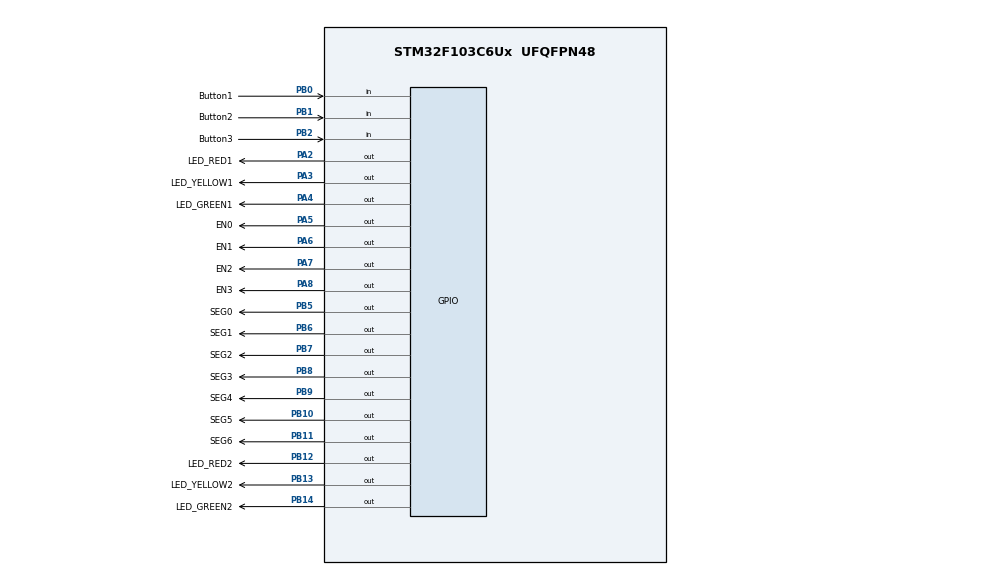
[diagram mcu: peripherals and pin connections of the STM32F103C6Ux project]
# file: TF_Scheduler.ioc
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Mcu.Family=STM32F1
Mcu.Name=STM32F103C6Ux
Mcu.Package=UFQFPN48
NVIC.PriorityGroup=NVIC_PRIORITYGROUP_4
NVIC.TIM2_IRQn=true\:0\:0\:false\:false\:true\:true\:true
PA0-WKUP.Mode=SYS_WakeUp0
PA0-WKUP.Signal=SYS_WKUP
PA13.Mode=Serial_Wire
PA13.Signal=SYS_JTMS-SWDIO
PA14.Mode=Serial_Wire
PA14.Signal=SYS_JTCK-SWCLK
PA2.GPIO_Label=LED_RED1
PA2.Signal=GPIO_Output
PA3.GPIO_Label=LED_YELLOW1
PA3.Signal=GPIO_Output
PA4.GPIO_Label=LED_GREEN1
PA4.Signal=GPIO_Output
PA5.GPIO_Label=EN0
PA5.GPIO_PuPd=GPIO_NOPULL
PA5.Signal=GPIO_Output
PA6.GPIO_Label=EN1
PA6.Signal=GPIO_Output
PA7.GPIO_Label=EN2
PA7.Signal=GPIO_Output
PA8.GPIO_Label=EN3
PA8.Signal=GPIO_Output
PB0.GPIO_Label=Button1
PB0.GPIO_PuPd=GPIO_PULLUP
PB0.Signal=GPIO_Input
PB1.GPIO_Label=Button2
PB1.GPIO_PuPd=GPIO_PULLUP
PB1.Signal=GPIO_Input
PB10.GPIO_Label=SEG5
PB10.Signal=GPIO_Output
PB11.GPIO_Label=SEG6
PB11.Signal=GPIO_Output
PB12.GPIO_Label=LED_RED2
PB12.Signal=GPIO_Output
PB13.GPIO_Label=LED_YELLOW2
PB13.Signal=GPIO_Output
PB14.GPIO_Label=LED_GREEN2
PB14.Signal=GPIO_Output
PB2.GPIO_Label=Button3
PB2.GPIO_PuPd=GPIO_PULLUP
PB2.Signal=GPIO_Input
PB5.GPIO_Label=SEG0
PB5.Signal=GPIO_Output
PB6.GPIO_Label=SEG1
PB6.Signal=GPIO_Output
PB7.GPIO_Label=SEG2
PB7.Signal=GPIO_Output
PB8.GPIO_Label=SEG3
PB8.Signal=GPIO_Output
PB9.GPIO_Label=SEG4
PB9.Signal=GPIO_Output
PC14-OSC32_IN.Mode=LSE-External-Oscillator
PC14-OSC32_IN.Signal=RCC_OSC32_IN
PC15-OSC32_OUT.Mode=LSE-External-Oscillator
PC15-OSC32_OUT.Signal=RCC_OSC32_OUT
PD0-OSC_IN.Mode=HSE-External-Oscillator
PD0-OSC_IN.Signal=RCC_OSC_IN
PD1-OSC_OUT.Mode=HSE-External-Oscillator
PD1-OSC_OUT.Signal=RCC_OSC_OUT
ProjectManager.HeapSize=0x200
ProjectManager.StackSize=0x400
ProjectManager.TargetToolchain=STM32CubeIDE
RCC.APB1Freq_Value=8000000
RCC.APB2Freq_Value=8000000
TIM2.Period=9
TIM2.Prescaler=7999
VP_TIM2_VS_ClockSourceINT.Mode=Internal
board=custom

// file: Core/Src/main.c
/* USER CODE BEGIN Header */
/**
  ******************************************************************************
  * @file           : main.c
  * @brief          : Main program body
  ******************************************************************************
  * @attention
  *
  * <h2><center>&copy; Copyright (c) 2025 STMicroelectronics.
  * All rights reserved.</center></h2>
  *
  * This software component is licensed by ST under BSD 3-Clause license,
  * the "License"; You may not use this file except in compliance with the
  * License. You may obtain a copy of the License at:
  *                        opensource.org/licenses/BSD-3-Clause
  *
  ******************************************************************************
  */
/* USER CODE END Header */
#include "main.h"

/* USER CODE BEGIN Includes */
#include "scheduler.h"
#include "fsm_normal_state.h"
#include "fsm_fixedred_state.h"
#include "fsm_fixedyellow_state.h"
#include "fsm_fixedgreen_state.h"
#include "button.h"
#include "led_display.h"
#include "light_display.h"
/* USER CODE END Includes */

TIM_HandleTypeDef htim2;

void SystemClock_Config(void);
static void MX_GPIO_Init(void);
static void MX_TIM2_Init(void);

int main(void)
{

  /* MCU Configuration--------------------------------------------------------*/

  /* Reset of all peripherals, Initializes the Flash interface and the Systick. */
  HAL_Init();

  /* Configure the system clock */
  SystemClock_Config();

  /* Initialize all configured peripherals */
  MX_GPIO_Init();
  MX_TIM2_Init();
  /* USER CODE BEGIN 2 */
  HAL_TIM_Base_Start_IT(&htim2);
//  SCH_Init();

  //************************ RGB LEDs Init ********************************//
    RGB_TrafficLight_Init(&RGB_tl1, LED_RED1_Pin, LED_YELLOW1_Pin, LED_GREEN1_Pin,
    	LED_RED1_GPIO_Port, LED_YELLOW1_GPIO_Port, LED_GREEN1_GPIO_Port);
    RGB_TrafficLight_Init(&RGB_tl2, LED_RED2_Pin, LED_YELLOW2_Pin, LED_GREEN2_Pin,
    		LED_RED2_GPIO_Port, LED_YELLOW2_GPIO_Port, LED_GREEN2_GPIO_Port);

    //************************ Button Init ********************************//
    Button_Init(&btn[0], Button1_Pin, Button1_GPIO_Port);
    Button_Init(&btn[1], Button2_Pin, Button2_GPIO_Port);
    Button_Init(&btn[2], Button3_Pin, Button3_GPIO_Port);

    //************************ Add tasks ********************************//
    SCH_Add_Task(&fsm_processing_trafficlight, 0, 100);
    SCH_Add_Task(&fsm_processing_red_trafficlight, 0, 30);
    SCH_Add_Task(&fsm_processing_green_trafficlight, 0, 30);
    SCH_Add_Task(&fsm_processing_yellow_trafficlight, 0, 30);

    SCH_Add_Task(&fsm_normal_state, 0, 1);
	SCH_Add_Task(&fsm_fixedred_state, 0, 1);
	SCH_Add_Task(&fsm_fixedyellow_state, 0, 1);
	SCH_Add_Task(&fsm_fixedgreen_state, 0, 1);

	SCH_Add_Task(&Scan_Led, 0, 25);
	SCH_Add_Task(&button_reading, 0, 1);

  /* USER CODE END 2 */

  /* Infinite loop */
  /* USER CODE BEGIN WHILE */
  while (1)
  {
	  SCH_Dispatch_Tasks();
    /* USER CODE END WHILE */

  }
}

void SystemClock_Config(void)
{
  RCC_OscInitTypeDef RCC_OscInitStruct = {0};
  RCC_ClkInitTypeDef RCC_ClkInitStruct = {0};

  /** Initializes the RCC Oscillators according to the specified parameters
  * in the RCC_OscInitTypeDef structure.
  */
  RCC_OscInitStruct.OscillatorType = RCC_OSCILLATORTYPE_HSI;
  RCC_OscInitStruct.HSIState = RCC_HSI_ON;
  RCC_OscInitStruct.HSICalibrationValue = RCC_HSICALIBRATION_DEFAULT;
  RCC_OscInitStruct.PLL.PLLState = RCC_PLL_NONE;
  if (HAL_RCC_OscConfig(&RCC_OscInitStruct) != HAL_OK)
  {
    Error_Handler();
  }
  /** Initializes the CPU, AHB and APB buses clocks
  */
  RCC_ClkInitStruct.ClockType = RCC_CLOCKTYPE_HCLK|RCC_CLOCKTYPE_SYSCLK
                              |RCC_CLOCKTYPE_PCLK1|RCC_CLOCKTYPE_PCLK2;
  RCC_ClkInitStruct.SYSCLKSource = RCC_SYSCLKSOURCE_HSI;
  RCC_ClkInitStruct.AHBCLKDivider = RCC_SYSCLK_DIV1;
  RCC_ClkInitStruct.APB1CLKDivider = RCC_HCLK_DIV1;
  RCC_ClkInitStruct.APB2CLKDivider = RCC_HCLK_DIV1;

  if (HAL_RCC_ClockConfig(&RCC_ClkInitStruct, FLASH_LATENCY_0) != HAL_OK)
  {
    Error_Handler();
  }
}

static void MX_TIM2_Init(void)
{

  TIM_ClockConfigTypeDef sClockSourceConfig = {0};
  TIM_MasterConfigTypeDef sMasterConfig = {0};

  htim2.Instance = TIM2;
  htim2.Init.Prescaler = 7999;
  htim2.Init.CounterMode = TIM_COUNTERMODE_UP;
  htim2.Init.Period = 9;
  htim2.Init.ClockDivision = TIM_CLOCKDIVISION_DIV1;
  htim2.Init.AutoReloadPreload = TIM_AUTORELOAD_PRELOAD_DISABLE;
  if (HAL_TIM_Base_Init(&htim2) != HAL_OK)
  {
    Error_Handler();
  }
  sClockSourceConfig.ClockSource = TIM_CLOCKSOURCE_INTERNAL;
  if (HAL_TIM_ConfigClockSource(&htim2, &sClockSourceConfig) != HAL_OK)
  {
    Error_Handler();
  }
  sMasterConfig.MasterOutputTrigger = TIM_TRGO_RESET;
  sMasterConfig.MasterSlaveMode = TIM_MASTERSLAVEMODE_DISABLE;
  if (HAL_TIMEx_MasterConfigSynchronization(&htim2, &sMasterConfig) != HAL_OK)
  {
    Error_Handler();
  }

}

static void MX_GPIO_Init(void)
{
  GPIO_InitTypeDef GPIO_InitStruct = {0};

  /* GPIO Ports Clock Enable */
  __HAL_RCC_GPIOC_CLK_ENABLE();
  __HAL_RCC_GPIOD_CLK_ENABLE();
  __HAL_RCC_GPIOA_CLK_ENABLE();
  __HAL_RCC_GPIOB_CLK_ENABLE();

  /*Configure GPIO pin Output Level */
  HAL_GPIO_WritePin(GPIOA, LED_RED1_Pin|LED_YELLOW1_Pin|LED_GREEN1_Pin|EN0_Pin
                          |EN1_Pin|EN2_Pin|EN3_Pin, GPIO_PIN_RESET);

  /*Configure GPIO pin Output Level */
  HAL_GPIO_WritePin(GPIOB, SEG5_Pin|SEG6_Pin|LED_RED2_Pin|LED_YELLOW2_Pin
                          |LED_GREEN2_Pin|SEG0_Pin|SEG1_Pin|SEG2_Pin
                          |SEG3_Pin|SEG4_Pin, GPIO_PIN_RESET);

  /*Configure GPIO pins : LED_RED1_Pin LED_YELLOW1_Pin LED_GREEN1_Pin EN0_Pin
                           EN1_Pin EN2_Pin EN3_Pin */
  GPIO_InitStruct.Pin = LED_RED1_Pin|LED_YELLOW1_Pin|LED_GREEN1_Pin|EN0_Pin
                          |EN1_Pin|EN2_Pin|EN3_Pin;
  GPIO_InitStruct.Mode = GPIO_MODE_OUTPUT_PP;
  GPIO_InitStruct.Pull = GPIO_NOPULL;
  GPIO_InitStruct.Speed = GPIO_SPEED_FREQ_LOW;
  HAL_GPIO_Init(GPIOA, &GPIO_InitStruct);

  /*Configure GPIO pins : Button1_Pin Button2_Pin Button3_Pin */
  GPIO_InitStruct.Pin = Button1_Pin|Button2_Pin|Button3_Pin;
  GPIO_InitStruct.Mode = GPIO_MODE_INPUT;
  GPIO_InitStruct.Pull = GPIO_PULLUP;
  HAL_GPIO_Init(GPIOB, &GPIO_InitStruct);

  /*Configure GPIO pins : SEG5_Pin SEG6_Pin LED_RED2_Pin LED_YELLOW2_Pin
                           LED_GREEN2_Pin SEG0_Pin SEG1_Pin SEG2_Pin
                           SEG3_Pin SEG4_Pin */
  GPIO_InitStruct.Pin = SEG5_Pin|SEG6_Pin|LED_RED2_Pin|LED_YELLOW2_Pin
                          |LED_GREEN2_Pin|SEG0_Pin|SEG1_Pin|SEG2_Pin
                          |SEG3_Pin|SEG4_Pin;
  GPIO_InitStruct.Mode = GPIO_MODE_OUTPUT_PP;
  GPIO_InitStruct.Pull = GPIO_NOPULL;
  GPIO_InitStruct.Speed = GPIO_SPEED_FREQ_LOW;
  HAL_GPIO_Init(GPIOB, &GPIO_InitStruct);

}

/* USER CODE BEGIN 4 */
void HAL_TIM_PeriodElapsedCallback(TIM_HandleTypeDef *htim){
	if(htim->Instance == TIM2){
		SCH_Update();
	}
}
/* USER CODE END 4 */

void Error_Handler(void)
{
  __disable_irq();
  while (1)
  {
  }
}

/************************ (C) COPYRIGHT STMicroelectronics *****END OF FILE****/
